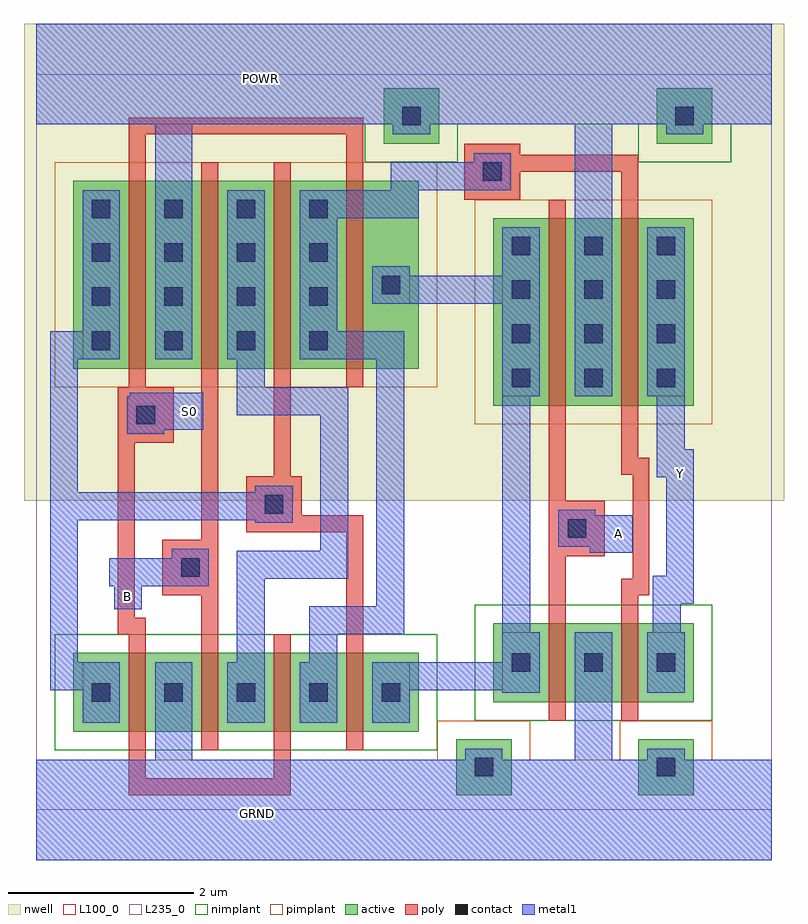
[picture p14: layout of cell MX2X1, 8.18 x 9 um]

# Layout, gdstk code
import gdstk
lib = gdstk.Library(unit=1e-6, precision=1e-09)
def R(c, l, rs):  # rectangles x0, y0, x1, y1
    for r in rs: c.add(gdstk.rectangle(r[:2], r[2:], *l))
def A(c, l, x, y, w, h, nx, ny, dx, dy):  # array of equal rectangles
    R(c, l, [(x+i*dx, y+j*dy, x+i*dx+w, y+j*dy+h) for i in range(nx) for j in range(ny)])
def P(c, l, *ps):  # polygons
    for p in ps: c.add(gdstk.Polygon(p, *l))
active = (1, 0)
nwell = (2, 0)
poly = (3, 0)
nimplant = (4, 0)
pimplant = (5, 0)
contact = (6, 0)
metal1 = (7, 0)
L100_0 = (100, 0)
L235_0 = (235, 0)

mx2x1 = lib.new_cell('MX2X1')
A(mx2x1, active, 0.4, 0.84, 0.6, 0.85, 5, 1, 0.78, 0)
A(mx2x1, active, 1, 0.84, 0.18, 0.85, 4, 1, 0.78, 0)
A(mx2x1, active, 4.92, 1.16, 0.6, 0.85, 3, 1, 0.78, 0)
A(mx2x1, active, 4.92, 4.35, 0.6, 2.02, 3, 1, 0.78, 0)
A(mx2x1, active, 0.4, 4.75, 0.6, 2.02, 5, 1, 0.78, 0)
A(mx2x1, active, 1, 4.75, 0.18, 2.02, 4, 1, 0.78, 0)
R(mx2x1, active, [(4.52,0.16,5.12,0.76), (6.48,0.16,7.08,0.76), (5.52,1.16,5.7,2.01), (6.3,1.16,6.48,2.01), (5.52,4.35,5.7,6.37), (6.3,4.35,6.48,6.37), (3.74,7.17,4.34,7.77), (6.68,7.17,7.28,7.77)])
R(mx2x1, nwell, [(-0.13,3.33,8.05,8.46)])
A(mx2x1, poly, 1, 0.64, 0.18, 1.25, 4, 1, 0.78, 0)
A(mx2x1, poly, 1, 0.64, 0.18, 0.2, 4, 2, 0.78, 1.05)
A(mx2x1, poly, 1, 4.55, 0.18, 0.2, 4, 2, 0.78, 2.22)
A(mx2x1, poly, 1, 4.55, 0.18, 2.42, 4, 1, 0.78, 0)
R(mx2x1, poly, [(5.52,0.96,5.7,2.21), (5.52,0.96,5.7,1.16), (6.3,0.96,6.48,2.21), (6.3,0.96,6.48,1.16), (5.52,2.01,5.7,2.21), (6.3,2.01,6.48,2.21), (5.52,4.15,5.7,4.35), (5.52,4.15,5.7,6.57), (6.3,4.15,6.48,4.35), (6.3,4.15,6.48,6.57), (5.52,6.37,5.7,6.57), (6.3,6.37,6.48,6.57)])
P(mx2x1, poly, [(3.52,3.17),(2.86,3.17),(2.86,3.59),(2.74,3.59),(2.74,4.55),(2.56,4.55),(2.56,3.59),(2.26,3.59),(2.26,2.99),(3.34,2.99),(3.34,1.8),(3.52,1.8)],
  [(6.48,7.05),(5.21,7.05),(5.21,7.17),(4.61,7.17),(4.61,6.57),(5.21,6.57),(5.21,6.87),(6.3,6.87),(6.3,6.5),(6.48,6.5)],
  [(1.48,4.55),(1.18,4.55),(1.18,4.56),(1,4.56),(1,4.55),(0.88,4.55),(0.88,1.89),(1.18,1.89),(1.18,2.07),(1.06,2.07),(1.06,3.95),(1.48,3.95)],
  [(1.96,4.55),(1.78,4.55),(1.78,2.91),(1.36,2.91),(1.36,2.31),(1.78,2.31),(1.78,1.87),(1.96,1.87)],
  [(6.12,3.33),(5.7,3.33),(5.7,4.6),(5.52,4.6),(5.52,2.18),(5.7,2.18),(5.7,2.73),(6.12,2.73)])
R(mx2x1, nimplant, [(0.2,0.64,4.32,1.89), (4.72,0.96,7.28,2.21)])
P(mx2x1, nimplant, [(7.92,8.46),(0,8.46),(0,7.38),(3.54,7.38),(3.54,6.97),(4.54,6.97),(4.54,7.38),(6.48,7.38),(6.48,6.97),(7.48,6.97),(7.48,7.38),(7.92,7.38)])
R(mx2x1, pimplant, [(4.72,4.15,7.28,6.57), (0.2,4.55,4.32,6.97)])
P(mx2x1, pimplant, [(7.92,0.54),(7.28,0.54),(7.28,0.96),(6.28,0.96),(6.28,0.54),(5.32,0.54),(5.32,0.96),(4.32,0.96),(4.32,0.54),(0,0.54),(0,-0.54),(7.92,-0.54)])
A(mx2x1, contact, 0.6, 1.165, 0.2, 0.2, 5, 1, 0.78, 0)
A(mx2x1, contact, 5.12, 1.485, 0.2, 0.2, 3, 2, 0.78, 3.065)
A(mx2x1, contact, 0.6, 4.95, 0.2, 0.2, 4, 3, 0.78, 0.475)
A(mx2x1, contact, 5.12, 5.025, 0.2, 0.2, 3, 2, 0.78, 0.475)
A(mx2x1, contact, 5.12, 5.97, 0.2, 0.2, 3, 1, 0.78, 0)
A(mx2x1, contact, 0.6, 6.37, 0.2, 0.2, 4, 1, 0.78, 0)
R(mx2x1, contact, [(4.72,0.36,4.92,0.56), (6.68,0.36,6.88,0.56), (1.56,2.51,1.76,2.71), (5.72,2.93,5.92,3.13), (2.46,3.19,2.66,3.39), (1.08,4.15,1.28,4.35), (3.72,5.55,3.92,5.75), (4.81,6.77,5.01,6.97), (3.94,7.37,4.14,7.57), (6.88,7.37,7.08,7.57)])
R(mx2x1, metal1, [(0,-0.54,7.92,0.54), (4.62,0.26,5.02,0.66), (6.58,0.26,6.98,0.66), (0.84,2.16,1.14,2.46), (6.12,2.82,6.42,3.12), (6.78,3.48,7.08,3.78), (1.5,4.14,1.8,4.44), (3.84,7.27,4.24,7.67), (6.78,7.27,7.18,7.67), (0,7.38,7.92,8.46)])
P(mx2x1, metal1, [(1.8,4.49),(1.01,4.49),(1.01,4.45),(0.98,4.45),(0.98,4.05),(1.38,4.05),(1.38,4.09),(1.8,4.09)],
  [(5.11,7.07),(4.71,7.07),(4.71,6.97),(3.82,6.97),(3.82,6.67),(3.24,6.67),(3.24,6.37),(4.12,6.37),(4.12,6.67),(5.11,6.67)],
  [(1.86,2.81),(1.46,2.81),(1.46,2.71),(0.79,2.71),(0.79,2.41),(1.86,2.41)],
  [(2.76,3.49),(2.36,3.49),(2.36,3.42),(0.45,3.42),(0.45,4.85),(0.5,4.85),(0.5,5.15),(0.15,5.15),(0.15,1.29),(0.5,1.29),(0.5,1.59),(0.45,1.59),(0.45,3.12),(2.36,3.12),(2.36,3.09),(2.76,3.09)],
  [(6.42,3.17),(6.02,3.17),(6.02,3.23),(5.62,3.23),(5.62,2.83),(5.96,2.83),(5.96,2.77),(6.42,2.77)])
R(mx2x1, L100_0, [(0.5,0.94,0.9,1.59), (3.62,0.94,4.02,1.59), (5.02,1.26,5.42,1.91), (6.58,1.26,6.98,1.91), (5.02,4.45,5.42,6.27), (6.58,4.45,6.98,6.27), (0.5,4.85,0.9,6.67), (3.62,5.45,4.02,5.85)])
R(mx2x1, L235_0, [(0,0,7.92,7.92)])
mx2x1.add(gdstk.FlexPath([(6.39,4.19),(6.39,3.7),(6.51,3.7),(6.51,2.4),(6.39,2.4),(6.39,2.15)], 0.18, ends="flush", simple_path=True, layer=3, datatype=0))  # poly
mx2x1.add(gdstk.FlexPath([(1.09,0.69),(1.09,0.25),(2.65,0.25),(2.65,0.72)], 0.18, ends="flush", simple_path=True, layer=3, datatype=0))  # poly
mx2x1.add(gdstk.FlexPath([(1.09,6.88),(1.09,7.36),(3.43,7.36),(3.43,6.83)], 0.18, ends="flush", simple_path=True, layer=3, datatype=0))  # poly
mx2x1.add(gdstk.FlexPath([(0.7,0.94),(0.7,1.59)], 0.4, ends="flush", simple_path=True, layer=7, datatype=0))  # metal1
mx2x1.add(gdstk.FlexPath([(1.48,0.94),(1.48,1.59)], 0.4, ends="flush", simple_path=True, layer=7, datatype=0))  # metal1
mx2x1.add(gdstk.FlexPath([(2.26,0.94),(2.26,1.59)], 0.4, ends="flush", simple_path=True, layer=7, datatype=0))  # metal1
mx2x1.add(gdstk.FlexPath([(3.04,0.94),(3.04,1.59)], 0.4, ends="flush", simple_path=True, layer=7, datatype=0))  # metal1
mx2x1.add(gdstk.FlexPath([(3.82,0.94),(3.82,1.59)], 0.4, ends="flush", simple_path=True, layer=7, datatype=0))  # metal1
mx2x1.add(gdstk.FlexPath([(5.22,1.26),(5.22,1.91)], 0.4, ends="flush", simple_path=True, layer=7, datatype=0))  # metal1
mx2x1.add(gdstk.FlexPath([(6,1.26),(6,1.91)], 0.4, ends="flush", simple_path=True, layer=7, datatype=0))  # metal1
mx2x1.add(gdstk.FlexPath([(6.78,1.26),(6.78,1.91)], 0.4, ends="flush", simple_path=True, layer=7, datatype=0))  # metal1
mx2x1.add(gdstk.FlexPath([(6.83,4.45),(6.83,3.73),(6.93,3.73),(6.93,2.37),(6.79,2.37),(6.79,1.91)], 0.3, ends="flush", simple_path=True, layer=7, datatype=0))  # metal1
mx2x1.add(gdstk.FlexPath([(4.02,1.44),(5.02,1.44)], 0.3, ends="flush", simple_path=True, layer=7, datatype=0))  # metal1
mx2x1.add(gdstk.FlexPath([(4.02,5.6),(5.02,5.6)], 0.3, ends="flush", simple_path=True, layer=7, datatype=0))  # metal1
mx2x1.add(gdstk.FlexPath([(0.7,4.85),(0.7,6.67)], 0.4, ends="flush", simple_path=True, layer=7, datatype=0))  # metal1
mx2x1.add(gdstk.FlexPath([(1.48,4.85),(1.48,6.67)], 0.4, ends="flush", simple_path=True, layer=7, datatype=0))  # metal1
mx2x1.add(gdstk.FlexPath([(2.26,4.85),(2.26,6.67)], 0.4, ends="flush", simple_path=True, layer=7, datatype=0))  # metal1
mx2x1.add(gdstk.FlexPath([(3.04,4.85),(3.04,6.67)], 0.4, ends="flush", simple_path=True, layer=7, datatype=0))  # metal1
mx2x1.add(gdstk.FlexPath([(3.82,5.45),(3.82,5.85)], 0.4, ends="flush", simple_path=True, layer=7, datatype=0))  # metal1
mx2x1.add(gdstk.FlexPath([(3.24,5),(3.81,5),(3.81,2.04),(3.09,2.04),(3.09,1.59)], 0.3, ends="flush", simple_path=True, layer=7, datatype=0))  # metal1
mx2x1.add(gdstk.FlexPath([(2.31,4.85),(2.31,4.4),(3.21,4.4),(3.21,2.64),(2.31,2.64),(2.31,1.59)], 0.3, ends="flush", simple_path=True, layer=7, datatype=0))  # metal1
mx2x1.add(gdstk.FlexPath([(6,4.45),(6,6.27)], 0.4, ends="flush", simple_path=True, layer=7, datatype=0))  # metal1
mx2x1.add(gdstk.FlexPath([(5.22,4.45),(5.22,6.27)], 0.4, ends="flush", simple_path=True, layer=7, datatype=0))  # metal1
mx2x1.add(gdstk.FlexPath([(5.17,4.45),(5.17,1.91)], 0.3, ends="flush", simple_path=True, layer=7, datatype=0))  # metal1
mx2x1.add(gdstk.FlexPath([(1.48,0.94),(1.48,0.54)], 0.4, ends="flush", simple_path=True, layer=7, datatype=0))  # metal1
mx2x1.add(gdstk.FlexPath([(6,6.27),(6,7.38)], 0.4, ends="flush", simple_path=True, layer=7, datatype=0))  # metal1
mx2x1.add(gdstk.FlexPath([(6.78,4.45),(6.78,6.27)], 0.4, ends="flush", simple_path=True, layer=7, datatype=0))  # metal1
mx2x1.add(gdstk.FlexPath([(1.48,6.67),(1.48,7.38)], 0.4, ends="flush", simple_path=True, layer=7, datatype=0))  # metal1
mx2x1.add(gdstk.FlexPath([(6,1.26),(6,0.54)], 0.4, ends="flush", simple_path=True, layer=7, datatype=0))  # metal1
mx2x1.add(gdstk.Label('Y', (6.94,3.62), layer=230, texttype=0))
mx2x1.add(gdstk.Label('A', (6.27,2.98), layer=230, texttype=0))
mx2x1.add(gdstk.Label('S0', (1.65,4.29), layer=230, texttype=0))
mx2x1.add(gdstk.Label('B', (0.98,2.3), layer=230, texttype=0))
mx2x1.add(gdstk.Label('GRND', (2.38,-0.04), layer=230, texttype=0))
mx2x1.add(gdstk.Label('POWR', (2.42,7.87), layer=230, texttype=0))

lib.write_gds('MX2X1.gds')
